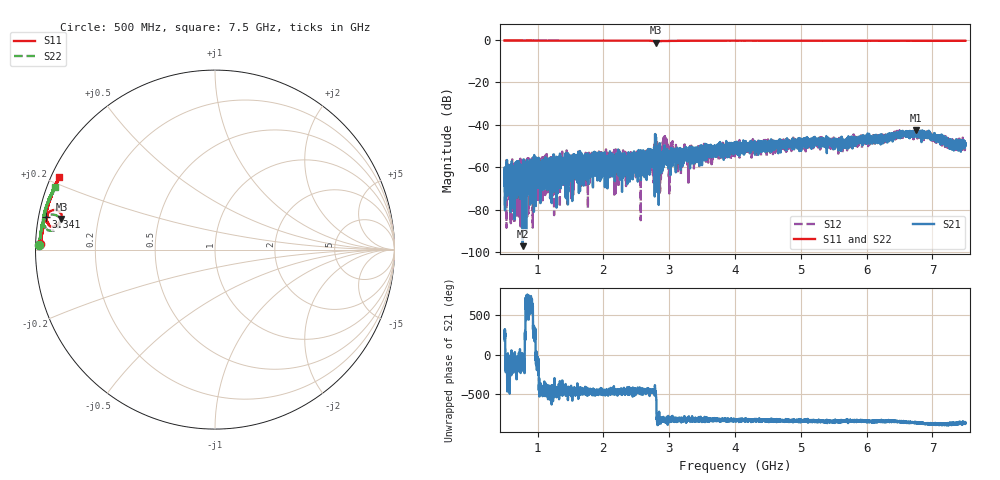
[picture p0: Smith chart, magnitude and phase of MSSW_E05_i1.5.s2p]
!Keysight Technologies,M9374A,MY55442783,A.12.55.05
!Date: Thursday, May 20, 2021 11:39:10
!Correction: S11(Full 2 Port(1,2))
!S21(Full 2 Port(1,2))
!S12(Full 2 Port(1,2))
!S22(Full 2 Port(1,2))
!S2P File: Measurements: S11, S21, S12, S22:
# Hz S  RI  R 50
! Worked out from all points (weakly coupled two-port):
!   7001 points, 500 MHz to 7.5 GHz, reference 50 ohm
!   highest |S21| = -42.64 dB at 6.748 GHz (marker M1); lowest = -97.2 dB at 775 MHz (marker M2)
!   lowest |S11| = -1.2 dB at 2.793 GHz (marker M3), VSWR 14.70, Z = 3.44 + j4.92 ohm
!   |S11| at or under -10 dB: nowhere
!   |S22| runs from -1.2 to -0.2 dB; largest |S21 - S12| = 0.0092
!   S11 on the Smith chart (normalised r, x): 500 MHz: 0.01, +0.02; 3.341 GHz: 0.02, +0.10; 7.5 GHz: 0.02, +0.22
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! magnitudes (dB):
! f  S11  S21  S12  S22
! 500 MHz  -0.2  -67.6  -64.4  -0.2
! 600 MHz  -0.2  -58.9  -63.0  -0.2
! 775 MHz  -0.3  -97.2  -68.4  -0.2
! 1.06 GHz  -0.3  -64.2  -66.9  -0.2
! 1.667 GHz  -0.3  -56.6  -57.0  -0.2
! 1.909 GHz  -0.3  -56.4  -61.2  -0.2
! 2.742 GHz  -0.4  -57.1  -52.3  -0.4
! 2.793 GHz  -1.2  -48.4  -48.3  -1.1
! 2.812 GHz  -0.9  -57.1  -49.2  -0.9
! 2.834 GHz  -0.7  -57.1  -60.0  -0.6
! 2.867 GHz  -0.6  -56.8  -58.3  -0.4
! 2.934 GHz  -0.5  -54.1  -46.0  -0.4
! 2.994 GHz  -0.4  -57.2  -59.0  -0.3
! 3.054 GHz  -0.4  -59.3  -50.6  -0.3
! 3.176 GHz  -0.4  -61.2  -55.6  -0.3
! 3.341 GHz  -0.4  -56.9  -54.0  -0.3
! 4 GHz  -0.3  -48.1  -49.0  -0.3
! 5.167 GHz  -0.3  -48.6  -48.1  -0.3
! 5.628 GHz  -0.4  -49.2  -48.0  -0.3
! 6.334 GHz  -0.4  -45.1  -44.6  -0.3
! 6.748 GHz  -0.4  -42.6  -43.2  -0.3
! 7.5 GHz  -0.4  -48.7  -50.3  -0.4
